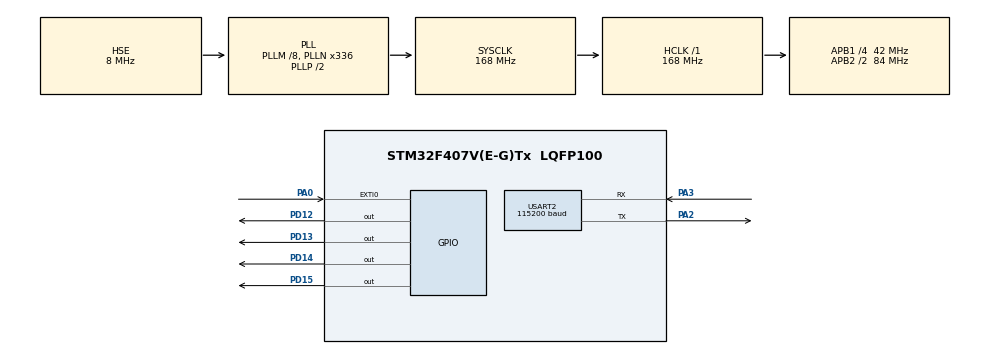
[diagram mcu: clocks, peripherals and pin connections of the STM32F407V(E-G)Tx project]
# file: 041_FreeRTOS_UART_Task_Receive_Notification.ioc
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FREERTOS.Tasks01=defaultTask,24,128,StartDefaultTask,Default,NULL,Dynamic,NULL,NULL
FREERTOS.configUSE_NEWLIB_REENTRANT=1
Mcu.Family=STM32F4
Mcu.Name=STM32F407V(E-G)Tx
Mcu.Package=LQFP100
NVIC.EXTI0_IRQn=true\:5\:0\:false\:false\:true\:true\:true\:true\:true
NVIC.PriorityGroup=NVIC_PRIORITYGROUP_4
NVIC.TIM8_TRG_COM_TIM14_IRQn=true\:15\:0\:false\:false\:true\:false\:false\:true\:true
NVIC.TimeBase=TIM8_TRG_COM_TIM14_IRQn
NVIC.TimeBaseIP=TIM14
NVIC.USART2_IRQn=true\:5\:0\:false\:false\:true\:true\:true\:true\:true
PA0-WKUP.Signal=GPXTI0
PA2.Mode=Asynchronous
PA2.Signal=USART2_TX
PA3.Mode=Asynchronous
PA3.Signal=USART2_RX
PD12.Signal=GPIO_Output
PD13.Signal=GPIO_Output
PD14.Signal=GPIO_Output
PD15.Signal=GPIO_Output
PH0-OSC_IN.Mode=HSE-External-Oscillator
PH0-OSC_IN.Signal=RCC_OSC_IN
PH1-OSC_OUT.Mode=HSE-External-Oscillator
PH1-OSC_OUT.Signal=RCC_OSC_OUT
ProjectManager.HeapSize=0x200
ProjectManager.StackSize=0x400
ProjectManager.TargetToolchain=STM32CubeIDE
RCC.48MHZClocksFreq_Value=48000000
RCC.AHBFreq_Value=168000000
RCC.APB1CLKDivider=RCC_HCLK_DIV4
RCC.APB1Freq_Value=42000000
RCC.APB1TimFreq_Value=84000000
RCC.APB2CLKDivider=RCC_HCLK_DIV2
RCC.APB2Freq_Value=84000000
RCC.APB2TimFreq_Value=168000000
RCC.CortexFreq_Value=168000000
RCC.HCLKFreq_Value=168000000
RCC.HSE_VALUE=8000000
RCC.HSI_VALUE=16000000
RCC.LSE_VALUE=32768
RCC.PLLM=8
RCC.PLLN=336
RCC.PLLQ=7
RCC.PLLSourceVirtual=RCC_PLLSOURCE_HSE
RCC.SYSCLKFreq_VALUE=168000000
RCC.SYSCLKSource=RCC_SYSCLKSOURCE_PLLCLK
RCC.VCOOutputFreq_Value=336000000
USART2.BaudRate=115200
USART2.VirtualMode=VM_ASYNC
VP_FREERTOS_VS_CMSIS_V2.Mode=CMSIS_V2
VP_SYS_VS_tim14.Mode=TIM14
board=STM32F407G-DISC1

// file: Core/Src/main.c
/* USER CODE BEGIN Header */
/**
  ******************************************************************************
  * @file           : main.c
  * @brief          : Main program body
  ******************************************************************************
  * @attention
  *
  * Copyright (c) 2023 STMicroelectronics.
  * All rights reserved.
  *
  * This software is licensed under terms that can be found in the LICENSE file
  * in the root directory of this software component.
  * If no LICENSE file comes with this software, it is provided AS-IS.
  *
  ******************************************************************************
  */
/* USER CODE END Header */
#include "main.h"

/* USER CODE BEGIN Includes */
#include "FreeRTOS.h"
#include "task.h"
/* USER CODE END Includes */

UART_HandleTypeDef huart2;

/* Definitions for defaultTask */
/* USER CODE BEGIN PV */
uint8_t buffer;
/* USER CODE END PV */

void SystemClock_Config(void);
static void MX_GPIO_Init(void);
static void MX_USART2_UART_Init(void);

/* USER CODE BEGIN 0 */
void vTaskUARTHandler(void *pvParameters)
{
	TickType_t xTicksToWait = pdMS_TO_TICKS(3000);
	const char *msg = "Since 3 second no message has been received\r\n";
	HAL_UART_Receive_IT(&huart2, &buffer, 1);
	for(;;)
	{
		if(ulTaskNotifyTake(pdTRUE, xTicksToWait) == 0)
		{
			HAL_UART_Transmit(&huart2, (uint8_t*)msg, strlen(msg), HAL_MAX_DELAY);
		}
	}

}
void HAL_UART_RxCpltCallback(UART_HandleTypeDef *huart)
{
	BaseType_t xHigherPriorityTaskWoken = pdFALSE;
	vTaskNotifyGiveFromISR(vTaskUARTHandler, &xHigherPriorityTaskWoken);

	HAL_UART_Receive_IT(&huart2, &buffer, 1);
	portYIELD_FROM_ISR(xHigherPriorityTaskWoken);
}
/* USER CODE END 0 */

int main(void)
{

  /* MCU Configuration--------------------------------------------------------*/

  /* Reset of all peripherals, Initializes the Flash interface and the Systick. */
  HAL_Init();

  /* Configure the system clock */
  SystemClock_Config();

  /* Initialize all configured peripherals */
  MX_GPIO_Init();
  MX_USART2_UART_Init();
  /* USER CODE BEGIN 2 */
  xTaskCreate(vTaskUARTHandler, "Uart-task", configMINIMAL_STACK_SIZE, NULL, 1, NULL);
  vTaskStartScheduler();
  /* USER CODE END 2 */

  /* Init scheduler */

  /* Create the thread(s) */
  /* creation of defaultTask */

  /* Start scheduler */

  /* We should never get here as control is now taken by the scheduler */
  /* Infinite loop */
  while (1)
  {

  }
}

void SystemClock_Config(void)
{
  RCC_OscInitTypeDef RCC_OscInitStruct = {0};
  RCC_ClkInitTypeDef RCC_ClkInitStruct = {0};

  /** Configure the main internal regulator output voltage
  */
  __HAL_RCC_PWR_CLK_ENABLE();
  __HAL_PWR_VOLTAGESCALING_CONFIG(PWR_REGULATOR_VOLTAGE_SCALE1);

  /** Initializes the RCC Oscillators according to the specified parameters
  * in the RCC_OscInitTypeDef structure.
  */
  RCC_OscInitStruct.OscillatorType = RCC_OSCILLATORTYPE_HSE;
  RCC_OscInitStruct.HSEState = RCC_HSE_ON;
  RCC_OscInitStruct.PLL.PLLState = RCC_PLL_ON;
  RCC_OscInitStruct.PLL.PLLSource = RCC_PLLSOURCE_HSE;
  RCC_OscInitStruct.PLL.PLLM = 8;
  RCC_OscInitStruct.PLL.PLLN = 336;
  RCC_OscInitStruct.PLL.PLLP = RCC_PLLP_DIV2;
  RCC_OscInitStruct.PLL.PLLQ = 7;
  if (HAL_RCC_OscConfig(&RCC_OscInitStruct) != HAL_OK)
  {
    Error_Handler();
  }

  /** Initializes the CPU, AHB and APB buses clocks
  */
  RCC_ClkInitStruct.ClockType = RCC_CLOCKTYPE_HCLK|RCC_CLOCKTYPE_SYSCLK
                              |RCC_CLOCKTYPE_PCLK1|RCC_CLOCKTYPE_PCLK2;
  RCC_ClkInitStruct.SYSCLKSource = RCC_SYSCLKSOURCE_PLLCLK;
  RCC_ClkInitStruct.AHBCLKDivider = RCC_SYSCLK_DIV1;
  RCC_ClkInitStruct.APB1CLKDivider = RCC_HCLK_DIV4;
  RCC_ClkInitStruct.APB2CLKDivider = RCC_HCLK_DIV2;

  if (HAL_RCC_ClockConfig(&RCC_ClkInitStruct, FLASH_LATENCY_5) != HAL_OK)
  {
    Error_Handler();
  }
}

static void MX_USART2_UART_Init(void)
{

  huart2.Instance = USART2;
  huart2.Init.BaudRate = 115200;
  huart2.Init.WordLength = UART_WORDLENGTH_8B;
  huart2.Init.StopBits = UART_STOPBITS_1;
  huart2.Init.Parity = UART_PARITY_NONE;
  huart2.Init.Mode = UART_MODE_TX_RX;
  huart2.Init.HwFlowCtl = UART_HWCONTROL_NONE;
  huart2.Init.OverSampling = UART_OVERSAMPLING_16;
  if (HAL_UART_Init(&huart2) != HAL_OK)
  {
    Error_Handler();
  }

}

static void MX_GPIO_Init(void)
{
  GPIO_InitTypeDef GPIO_InitStruct = {0};

  /* GPIO Ports Clock Enable */
  __HAL_RCC_GPIOH_CLK_ENABLE();
  __HAL_RCC_GPIOA_CLK_ENABLE();
  __HAL_RCC_GPIOD_CLK_ENABLE();

  /*Configure GPIO pin Output Level */
  HAL_GPIO_WritePin(GPIOD, GPIO_PIN_12|GPIO_PIN_13|GPIO_PIN_14|GPIO_PIN_15, GPIO_PIN_RESET);

  /*Configure GPIO pin : PA0 */
  GPIO_InitStruct.Pin = GPIO_PIN_0;
  GPIO_InitStruct.Mode = GPIO_MODE_IT_RISING;
  GPIO_InitStruct.Pull = GPIO_NOPULL;
  HAL_GPIO_Init(GPIOA, &GPIO_InitStruct);

  /*Configure GPIO pins : PD12 PD13 PD14 PD15 */
  GPIO_InitStruct.Pin = GPIO_PIN_12|GPIO_PIN_13|GPIO_PIN_14|GPIO_PIN_15;
  GPIO_InitStruct.Mode = GPIO_MODE_OUTPUT_PP;
  GPIO_InitStruct.Pull = GPIO_NOPULL;
  GPIO_InitStruct.Speed = GPIO_SPEED_FREQ_LOW;
  HAL_GPIO_Init(GPIOD, &GPIO_InitStruct);

  /* EXTI interrupt init*/
  HAL_NVIC_SetPriority(EXTI0_IRQn, 5, 0);
  HAL_NVIC_EnableIRQ(EXTI0_IRQn);

}

void HAL_TIM_PeriodElapsedCallback(TIM_HandleTypeDef *htim)
{
  if (htim->Instance == TIM14) {
    HAL_IncTick();
  }
}

void Error_Handler(void)
{
  __disable_irq();
  while (1)
  {
  }
}
